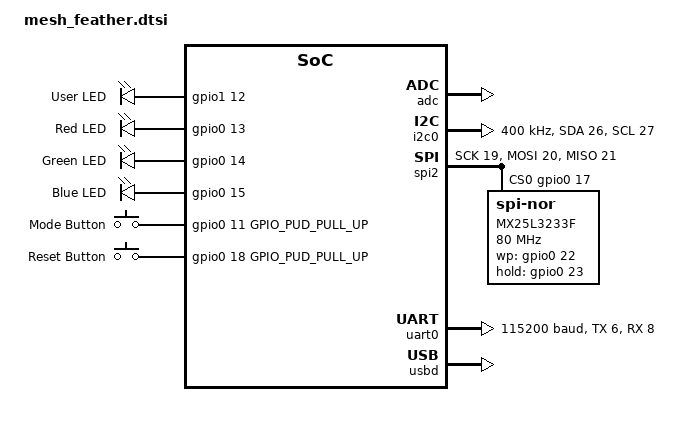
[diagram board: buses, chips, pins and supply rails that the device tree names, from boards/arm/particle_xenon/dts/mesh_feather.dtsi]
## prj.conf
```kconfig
# nothing here
CONFIG_GPIO=y
CONFIG_CLOCK_STM32_SYSCLK_SRC_HSI=y
# Clock configuration
CONFIG_CLOCK_CONTROL=y
# SYSCLK selection
CONFIG_CLOCK_STM32_SYSCLK_SRC_PLL=n


# PLL configuration
CONFIG_CLOCK_STM32_PLL_SRC_HSI=y
# produce 48MHz clock at PLL output
CONFIG_CLOCK_STM32_PLL_PREDIV=1
CONFIG_CLOCK_STM32_PLL_MULTIPLIER=6
CONFIG_CLOCK_STM32_AHB_PRESCALER=1
CONFIG_CLOCK_STM32_APB1_PRESCALER=1
```

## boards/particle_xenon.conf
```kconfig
CONFIG_I2C=y
CONFIG_SSD1306=y
CONFIG_SSD1306_SH1106_COMPATIBLE=n

CONFIG_I2C=y
CONFIG_SSD1306=y

CONFIG_LVGL_COLOR_DEPTH_1=y
CONFIG_LVGL_BITS_PER_PIXEL=1
CONFIG_LVGL_HOR_RES=128
CONFIG_LVGL_VER_RES=32
CONFIG_LVGL_DPI=148
CONFIG_LVGL_VDB_SIZE=64

CONFIG_LVGL_DISPLAY_DEV_NAME="SSD1306"
```

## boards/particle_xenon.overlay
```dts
/*
 * Copyright (c) 2019 PHYTEC Messtechnik GmbH
 *
 * SPDX-License-Identifier: Apache-2.0
 */

&i2c0 {
	status = "okay";

	ssd1306@3c {
		compatible = "solomon,ssd1306fb";
		reg = <0x3c>;
		label = "SSD1306";
		width = <128>;
		height = <32>;
		segment-offset = <0>;
		page-offset = <0>;
		display-offset = <0>;
		multiplex-ratio = <31>;
		segment-remap;
		com-invdir;
		com-sequential;
		prechargep = <0x22>;
	};
};
&adc { /* ADC */
 status = "okay";
};
&flash0 {
        /*
         * For more information, see:
         * http://docs.zephyrproject.org/latest/guides/dts/index.html#flash-partitions
         */
        partitions {
                compatible = "fixed-partitions";
                #address-cells = <1>;
                #size-cells = <1>;

                boot_partition: partition@0 {
                        label = "mcuboot";
                        reg = <0x000000000 0x0000C000>;
                };
                slot0_partition: partition@c000 {
                        label = "image-0";
                        reg = <0x0000C000 0x000067000>;
                };
                slot1_partition: partition@73000 {
                        label = "image-1";
                        reg = <0x00073000 0x000067000>;
                };
                scratch_partition: partition@da000 {
                        label = "image-scratch";
                        reg = <0x000da000 0x0001e000>;
                };

                /*
                 * The flash starting at 0x000f8000 and ending at
                 * 0x000fffff is reserved for use by the application.
                 */

                /* Storage partition will be used by FCB/NFFS/NVS if enabled. */
                storage_partition: partition@f8000 {
                        label = "storage";
                        reg = <0x000f8000 0x00008000>;
                };
        };
};
```

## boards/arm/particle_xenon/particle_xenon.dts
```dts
/*
 * Copyright (c) 2018 Endre Karlson
 * Copyright (c) 2018 Peter Bigot Consulting, LLC
 *
 * SPDX-License-Identifier: Apache-2.0
 */

/dts-v1/;
#include <nordic/nrf52840_qiaa.dtsi>
#include "mesh_feather.dtsi"

/ {
	model = "Particle Xenon";
	compatible = "particle,xenon", "particle,feather",
		"nordic,nrf52840-qiaa", "nordic,nrf52840";

	sky13351 {
		compatible = "skyworks,sky13351";
		vctl1-gpios = <&gpio0 24 0>;
		vctl2-gpios = <&gpio0 25 0>;
	};
};
&flash0 {
        /*
         * For more information, see:
         * http://docs.zephyrproject.org/latest/guides/dts/index.html#flash-partitions
         */
        partitions {
                compatible = "fixed-partitions";
                #address-cells = <1>;
                #size-cells = <1>;

                boot_partition: partition@0 {
                        label = "mcuboot";
                        reg = <0x000000000 0x0000C000>;
                };
                slot0_partition: partition@c000 {
                        label = "image-0";
                        reg = <0x0000C000 0x000067000>;
                };
                slot1_partition: partition@73000 {
                        label = "image-1";
                        reg = <0x00073000 0x000067000>;
                };
                scratch_partition: partition@da000 {
                        label = "image-scratch";
                        reg = <0x000da000 0x0001e000>;
                };

                /*
                 * The flash starting at 0x000f8000 and ending at
                 * 0x000fffff is reserved for use by the application.
                 */

                /* Storage partition will be used by FCB/NFFS/NVS if enabled. */
                storage_partition: partition@f8000 {
                        label = "storage";
                        reg = <0x000f8000 0x00008000>;
                };
        };
};
```

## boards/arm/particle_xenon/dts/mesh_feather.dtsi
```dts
/*
 * Copyright (c) 2018 Endre Karlson
 * Copyright (c) 2018 Peter Bigot Consulting, LLC
 *
 * SPDX-License-Identifier: Apache-2.0
 */

/* Assignments common to all Feather-based Particle mesh boards.
 *
 * NOTE: This file is replicated in particle_{argon,boron,xenon}.
 * Changes should be made in all instances. */

/ {
	aliases {
		led0 = &user_led;
		led1 = &status_red;
		led2 = &status_green;
		led3 = &status_blue;
		sw0 = &mode_button;
		sw1 = &reset_button;
	};

	chosen {
		zephyr,console = &uart0;
		zephyr,uart-mcumgr = &uart0;
		zephyr,shell-uart = &uart0;
		zephyr,sram = &sram0;
		zephyr,flash = &flash0;
		zephyr,code-partition = &slot0_partition;
	};

	leds {
		compatible = "gpio-leds";
		user_led: led_0 {
			gpios = <&gpio1 12 0>;
			label = "User LED";
		};
		status_red: led_1 {
			gpios = <&gpio0 13 0>;
			label = "Red LED";
		};
		status_green: led_2 {
			gpios = <&gpio0 14 0>;
			label = "Green LED";
		};
		status_blue: led_3 {
			gpios = <&gpio0 15 0>;
			label = "Blue LED";
		};
	};

	gpio_keys {
		compatible = "gpio-keys";
		mode_button: button_0 {
			gpios = <&gpio0 11 GPIO_PUD_PULL_UP>;
			label = "Mode Button";
		};

		reset_button: button_1 {
			gpios = <&gpio0 18 GPIO_PUD_PULL_UP>;
			label = "Reset Button";
		};
	};
};

&adc { /* feather ADC */
	status = "okay";
};


&flash0 {
	partitions {
		compatible = "fixed-partitions";
		#address-cells = <1>;
		#size-cells = <1>;

		boot_partition: partition@0 {
			label = "mcuboot";
			reg = <0x000000000 0x0000C000>;
		};
		slot0_partition: partition@c000 {
			label = "image-0";
			reg = <0x0000C000 0x000067000>;
		};
		slot1_partition: partition@73000 {
			label = "image-1";
			reg = <0x00073000 0x000067000>;
		};
		scratch_partition: partition@da000 {
			label = "image-scratch";
			reg = <0x000da000 0x0001e000>;
		};

		/*
		 * The flash starting at 0x000f8000 and ending at
		 * 0x000fffff is reserved for use by the application.
		 */

		/* Storage partition will be used by FCB/NFFS/NVS if enabled. */
		storage_partition: partition@f8000 {
			label = "storage";
			reg = <0x000f8000 0x00008000>;
		};
	};
};

&gpio0 {
	status = "okay";
};

&gpio1 {
	status = "okay";
};

&gpiote {
	status = "okay";
};

&i2c0 { /* feather I2C */
	compatible = "nordic,nrf-twi";
	status = "okay";
	clock-frequency = <I2C_BITRATE_FAST>;
	sda-pin = <26>;
	scl-pin = <27>;
};

/* TWI1 used on Boron; also see mesh_feather_spi1_spi1.dtsi */

&spi2 { /* dedicated MX25L */
	compatible = "nordic,nrf-spi";
	status = "okay";
	sck-pin = <19>;
	mosi-pin = <20>;
	miso-pin = <21>;
	cs-gpios = <&gpio0 17 0>;
	mx25l32: mx25l3233f@0 {
		compatible = "jedec,spi-nor";
		label = "MX25L3233F";
		reg = <0>;
		spi-max-frequency = <80000000>;
		wp-gpios = <&gpio0 22 0>;
		hold-gpios = <&gpio0 23 0>;
		size = <0x2000000>;
		has-be32k;
		has-dpd;
		t-enter-dpd = <10000>;
		t-exit-dpd = <100000>;
		jedec-id = [c2 20 16];
	};
};

/* see mesh_feather_spi1_spi3.dtsi */

&uart0 { /* feather UART1 */
	compatible = "nordic,nrf-uarte";
	current-speed = <115200>;
	status = "okay";
	tx-pin = <6>;
	rx-pin = <8>;
	/* optional mesh_feather_uart1_rtscts.dtsi */
};

&usbd {
	compatible = "nordic,nrf-usbd";
	status = "okay";
};
arduino_i2c: &i2c0 {
       status = "okay";
};
```

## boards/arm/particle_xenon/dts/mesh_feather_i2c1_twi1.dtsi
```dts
/*
 * Copyright (c) 2018 Peter Bigot Consulting, LLC
 *
 * SPDX-License-Identifier: Apache-2.0
 */

/* Add I2C1 support on Particle Mesh via nRF52840 TWI1
 *
 * NOTE: This file is replicated in particle_{argon,xenon}.
 * Changes should be made in all instances. */
&i2c1 { /* feather I2C1 */
	status = "okay";
	sda-pin = <33>;
	scl-pin = <34>;
        ssd1306@3c {
                compatible = "solomon,ssd1306fb-i2c";
                reg = <0x3c>;
                label = "SSD1306";
                width = <128>;
                height = <64>;
                segment-offset = <0>;
                page-offset = <0>;
                display-offset = <0>;
                segment-remap;
                com-invdir;
                prechargep = <0x22>;
        };
};
```

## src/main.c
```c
/*
 * Copyright (c) 2016 Intel Corporation
 *
 * SPDX-License-Identifier: Apache-2.0
 */

#include <zephyr.h>
#include <device.h>
#include <devicetree.h>
#include <drivers/gpio.h>

/* 1000 msec = 1 sec */
#define SLEEP_TIME_MS   2000
#define STEP_DELAY   1000

/* The devicetree node identifier for the "led0" alias. */

#define MOT1A1 1
#define MOT1A2 2
#define MOT1B1 3
#define MOT1B2 4


/* A build error here means your board isn't set up to blink an LED. */

#define PIN	0


#ifndef FLAGS
#define FLAGS	0
#endif
#define STEPSN 8
int steps[STEPSN]  = {0b0101,0b0001,0b1001,0b1000,0b01010,0b0010,0b0110,0b0100};
#define STEPS 9
//#define STEPSN 4
//unsigned int steps[STEPSN]  = {0b0100,0b0010,0b1000,0b0001};


void stepper_int(void){
	struct device *dev;
	dev = device_get_binding("GPIOA");
	if (dev == NULL) {
		return;
	}

	gpio_pin_configure(dev, MOT1A1, GPIO_OUTPUT_ACTIVE | FLAGS);
	gpio_pin_configure(dev, MOT1A2, GPIO_OUTPUT_ACTIVE | FLAGS);
	gpio_pin_configure(dev, MOT1B1, GPIO_OUTPUT_ACTIVE | FLAGS);
	gpio_pin_configure(dev, MOT1B2, GPIO_OUTPUT_ACTIVE | FLAGS);
}
void stepper_move(unsigned int step){
	struct device *dev;
	dev = device_get_binding("GPIOA");
	if (dev == NULL) {
		return;
	}
	//step = ~step;
	int mot1a1 = (0b0001 & step);
	int mot1a2 = (0b0010 & step)>> 1;
	int mot1b1 = (0b0100 & step)>> 2;
	int mot1b2 = (0b1000 & step)>> 3;
	gpio_pin_set(dev, MOT1A1, mot1a1);
	gpio_pin_set(dev, MOT1A2, mot1a2);
	gpio_pin_set(dev, MOT1B1, mot1b1);
	gpio_pin_set(dev, MOT1B2, mot1b2);

}

void main(void)
{

	unsigned int step;
	int ret;
printk("hello");
	stepper_int();
	if (ret < 0) {
		return;
	}

	while (1) {
		for ( int y = 0; y < STEPS; y++ ){
		for ( int x = 0; x < STEPSN; x++ ){
		//for ( int x = (STEPSN -1); x < 0; x-- ){
		step =	steps[x];
		stepper_move(step);
		printk("%u   %u \r",step, x);
		k_msleep(STEP_DELAY);
		}
	}
		//k_msleep(SLEEP_TIME_MS);
		for ( int y = 0; y < STEPS; y++ ){
		//for ( int x = 0; x < STEPSN; x++ ){
		for ( int x = (STEPSN - 1); x >= 0; x-- ){
		step =	steps[x];
		stepper_move(step);
		printk("%u   %u \r",step, x);
		k_msleep(STEP_DELAY);
		}
	}
		//k_msleep(SLEEP_TIME_MS);
	}
}
```
